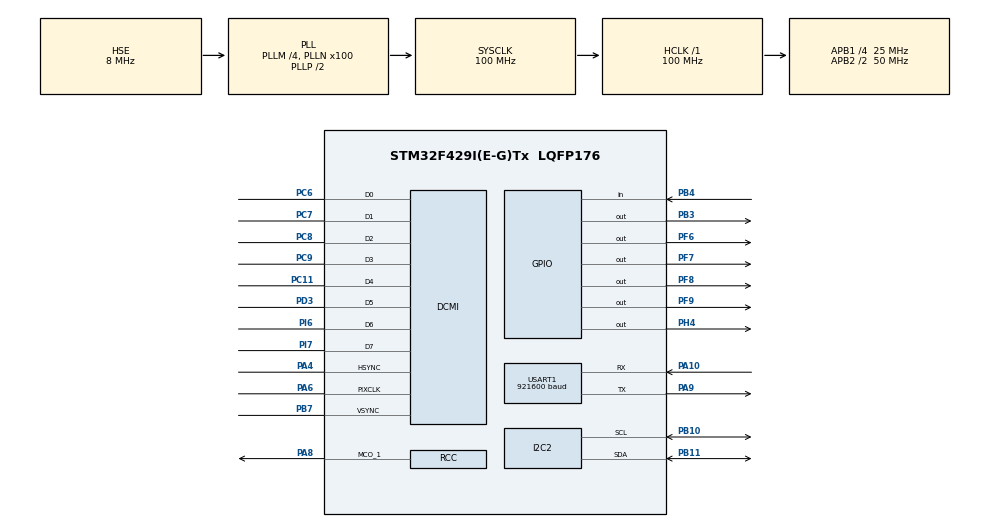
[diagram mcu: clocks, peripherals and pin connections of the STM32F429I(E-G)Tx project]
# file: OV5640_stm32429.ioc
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DCMI.JPEGMode=DCMI_JPEG_ENABLE
DCMI.PCKPolarity=DCMI_PCKPOLARITY_RISING
Dma.DCMI.0.Direction=DMA_PERIPH_TO_MEMORY
Dma.DCMI.0.FIFOMode=DMA_FIFOMODE_ENABLE
Dma.DCMI.0.FIFOThreshold=DMA_FIFO_THRESHOLD_FULL
Dma.DCMI.0.Instance=DMA2_Stream1
Dma.DCMI.0.MemBurst=DMA_MBURST_SINGLE
Dma.DCMI.0.MemDataAlignment=DMA_MDATAALIGN_WORD
Dma.DCMI.0.MemInc=DMA_MINC_ENABLE
Dma.DCMI.0.Mode=DMA_CIRCULAR
Dma.DCMI.0.PeriphBurst=DMA_PBURST_SINGLE
Dma.DCMI.0.PeriphDataAlignment=DMA_PDATAALIGN_WORD
Dma.DCMI.0.PeriphInc=DMA_PINC_DISABLE
Dma.DCMI.0.Priority=DMA_PRIORITY_HIGH
Dma.Request0=DCMI
I2C2.I2C_Mode=I2C_Standard
Mcu.Family=STM32F4
Mcu.Name=STM32F429I(E-G)Tx
Mcu.Package=LQFP176
NVIC.DCMI_IRQn=true\:0\:0\:true\:false\:true\:true\:true\:true
NVIC.DMA2_Stream1_IRQn=true\:3\:0\:true\:false\:true\:false\:true\:true
NVIC.PriorityGroup=NVIC_PRIORITYGROUP_4
PA10.Mode=Asynchronous
PA10.Signal=USART1_RX
PA13.Mode=Serial_Wire
PA13.Signal=SYS_JTMS-SWDIO
PA14.Mode=Serial_Wire
PA14.Signal=SYS_JTCK-SWCLK
PA4.Mode=Slave_8_bits_External_Synchro
PA4.Signal=DCMI_HSYNC
PA6.Mode=Slave_8_bits_External_Synchro
PA6.Signal=DCMI_PIXCLK
PA8.Mode=Clock-out-1
PA8.Signal=RCC_MCO_1
PA9.Mode=Asynchronous
PA9.Signal=USART1_TX
PB10.GPIO_Pu=GPIO_PULLUP
PB10.GPIO_Speed=GPIO_SPEED_FREQ_HIGH
PB10.Mode=I2C
PB10.Signal=I2C2_SCL
PB11.Mode=I2C
PB11.Signal=I2C2_SDA
PB3.Signal=GPIO_Output
PB4.Signal=GPIO_Input
PB6.Signal=I2C1_SCL
PB7.Mode=Slave_8_bits_External_Synchro
PB7.Signal=DCMI_VSYNC
PC11.Mode=Slave_8_bits_External_Synchro
PC11.Signal=DCMI_D4
PC14/OSC32_IN.Mode=LSE-External-Oscillator
PC14/OSC32_IN.Signal=RCC_OSC32_IN
PC15/OSC32_OUT.Mode=LSE-External-Oscillator
PC15/OSC32_OUT.Signal=RCC_OSC32_OUT
PC6.Mode=Slave_8_bits_External_Synchro
PC6.Signal=DCMI_D0
PC7.Mode=Slave_8_bits_External_Synchro
PC7.Signal=DCMI_D1
PC8.Mode=Slave_8_bits_External_Synchro
PC8.Signal=DCMI_D2
PC9.Mode=Slave_8_bits_External_Synchro
PC9.Signal=DCMI_D3
PD10.Signal=USART3_CK
PD11.Signal=USART3_CTS
PD12.Signal=USART3_RTS
PD3.Mode=Slave_8_bits_External_Synchro
PD3.Signal=DCMI_D5
PF6.Signal=GPIO_Output
PF7.Signal=GPIO_Output
PF8.Signal=GPIO_Output
PF9.Signal=GPIO_Output
PG11.Signal=LTDC_B3
PG6.Signal=LTDC_R7
PG7.Signal=LTDC_CLK
PH0/OSC_IN.Mode=HSE-External-Oscillator
PH0/OSC_IN.Signal=RCC_OSC_IN
PH1/OSC_OUT.Mode=HSE-External-Oscillator
PH1/OSC_OUT.Signal=RCC_OSC_OUT
PH12.Signal=LTDC_R6
PH13.Signal=LTDC_G2
PH14.Signal=LTDC_G3
PH15.Signal=LTDC_G4
PH4.Signal=GPIO_Output
PH9.Signal=LTDC_R3
PI0.Signal=LTDC_G5
PI1.Signal=LTDC_G6
PI4.Signal=LTDC_B4
PI5.Signal=LTDC_B5
PI6.Mode=Slave_8_bits_External_Synchro
PI6.Signal=DCMI_D6
PI7.Mode=Slave_8_bits_External_Synchro
PI7.Signal=DCMI_D7
ProjectManager.HeapSize=0x200
ProjectManager.StackSize=0x400
ProjectManager.TargetToolchain=STM32CubeIDE
RCC.48MHZClocksFreq_Value=50000000
RCC.AHBFreq_Value=100000000
RCC.APB1CLKDivider=RCC_HCLK_DIV4
RCC.APB1Freq_Value=25000000
RCC.APB1TimFreq_Value=50000000
RCC.APB2CLKDivider=RCC_HCLK_DIV2
RCC.APB2Freq_Value=50000000
RCC.APB2TimFreq_Value=100000000
RCC.CortexFreq_Value=100000000
RCC.HCLKFreq_Value=100000000
RCC.HSE_VALUE=8000000
RCC.HSI_VALUE=16000000
RCC.PLLM=4
RCC.PLLN=100
RCC.PLLSAIN=50
RCC.PLLSourceVirtual=RCC_PLLSOURCE_HSE
RCC.RCC_MCO1Source=RCC_MCO1SOURCE_PLLCLK
RCC.RCC_MCODiv1=RCC_MCODIV_5
RCC.SYSCLKFreq_VALUE=100000000
RCC.SYSCLKSource=RCC_SYSCLKSOURCE_PLLCLK
RCC.VCOOutputFreq_Value=200000000
USART1.BaudRate=921600
USART1.Mode=MODE_TX_RX
USART1.VirtualMode=VM_ASYNC
USART1.WordLength=WORDLENGTH_8B
board=custom

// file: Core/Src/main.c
/* USER CODE BEGIN Header */
/**
  ******************************************************************************
  * @file           : main.c
  * @brief          : Main program body
  ******************************************************************************
  * @attention
  *
  * Copyright (c) 2023 STMicroelectronics.
  * All rights reserved.
  *
  * This software is licensed under terms that can be found in the LICENSE file
  * in the root directory of this software component.
  * If no LICENSE file comes with this software, it is provided AS-IS.
  *
  ******************************************************************************
  */
/* USER CODE END Header */
#include "main.h"

/* USER CODE BEGIN Includes */
#include <stdio.h>
#include <string.h>
#include "ov5640.h"
/* USER CODE END Includes */

DCMI_HandleTypeDef hdcmi;
DMA_HandleTypeDef hdma_dcmi;

I2C_HandleTypeDef hi2c2;

UART_HandleTypeDef huart1;

/* USER CODE BEGIN PV */
uint16_t Camera_SlaveID=0x0078;
uint16_t registerAdres_W=0x3A01;
uint8_t registerValue_W=0x01;
uint16_t ReadReg=0x3A01;
uint8_t register_deger_w[3]={};
uint8_t register_deger_r[2]={};
uint8_t readRegisterValue=0;
uint32_t jpeg_data_buf[JPEG_BUF_SIZE_MAX];
uint8_t resolution;
uint8_t data_array[4];
uint32_t k;
//extern uint16_t jpeg_size_tbl[][2];
/* USER CODE END PV */

void SystemClock_Config(void);
static void MX_GPIO_Init(void);
static void MX_DMA_Init(void);
static void MX_DCMI_Init(void);
static void MX_I2C2_Init(void);
static void MX_USART1_UART_Init(void);

/* USER CODE BEGIN 0 */
/*void OV5640_TestSensor()
{
    status = HAL_I2C_IsDeviceReady(&hi2c2, Camera_SlaveID, 2, HAL_MAX_DELAY);
}
void write_i2c(uint16_t registerAdres_W, uint8_t registerValue_W){ //OV5640 I2C hattı veri yazma

	register_deger_w[0] = 0;
	register_deger_w[1] = 0;
	register_deger_w[2] = 0;
	register_deger_w[2] = registerValue_W;
	register_deger_w[1] = (uint8_t)(registerAdres_W & 0x00FF);
	register_deger_w[0] = (uint8_t)((registerAdres_W >> 8) & 0xFF);

	HAL_I2C_Master_Transmit(&hi2c2, Camera_SlaveID, register_deger_w, 3, HAL_MAX_DELAY);
}
void Write_I2C(uint16_t WAdres,uint8_t Wdata)
{
	Write_Buffer[0] = (uint8_t)((WAdres>>8)&(0xFF));
	Write_Buffer[1] = (uint8_t)((WAdres)&(0x00FF));
	Write_Buffer[2]=  Wdata;
    status3 = HAL_I2C_Master_Transmit(&hi2c2, Camera_SlaveID, Write_Buffer, 3, HAL_MAX_DELAY);
}

uint8_t read_i2c(uint16_t registerAdres_R){ //OV5640 I2C hattı veri okuma

	register_deger_r[0] = 0;
	register_deger_r[1] = 0;

	register_deger_r[1] = (uint8_t)(registerAdres_R & 0x00FF);
	register_deger_r[0] = (uint8_t)((registerAdres_R >> 8) & 0xFF);

	HAL_I2C_Master_Transmit(&hi2c2, Camera_SlaveID, register_deger_r, 2, HAL_MAX_DELAY);
	HAL_I2C_Master_Receive(&hi2c2, Camera_SlaveID, &readRegisterValue, 1, HAL_MAX_DELAY);

	return readRegisterValue;
}
uint8_t Read_I2C(uint16_t RAdres)
{
	ReadRegisterBuffer[0]=0;
	ReadRegisterBuffer[1]=0;
	ReadRegisterBuffer[0]= (uint8_t)((RAdres>>8)&(0xFF));
	ReadRegisterBuffer[1]= (uint8_t)((RAdres)&(0x00FF));
    status1 = HAL_I2C_Master_Transmit(&hi2c2, Camera_SlaveID, ReadRegisterBuffer, 2, HAL_MAX_DELAY);
    status2 = HAL_I2C_Master_Receive(&hi2c2, Camera_SlaveID, &Read_Buffer, 1, HAL_MAX_DELAY);
    return Read_Buffer;
}*/
void send_data_uart(uint8_t *data, uint8_t size)
{
    HAL_UART_Transmit(&huart1, data, size, HAL_MAX_DELAY);
}
/* USER CODE END 0 */

int main(void)
{

  /* MCU Configuration--------------------------------------------------------*/

  /* Reset of all peripherals, Initializes the Flash interface and the Systick. */
  HAL_Init();

  /* Configure the system clock */
  SystemClock_Config();

  /* Initialize all configured peripherals */
  MX_GPIO_Init();
  MX_DMA_Init();
  MX_DCMI_Init();
  MX_I2C2_Init();
  MX_USART1_UART_Init();
  /* USER CODE BEGIN 2 */
 // resolution=QVGA_320_240;
 // OV5640_OutSize_Set(4, 0, jpeg_size_tbl[resolution][0], jpeg_size_tbl[resolution][1]);
  OV5640_Init();
  OV5640_CameraAyarları();
  jpeg_test(QQVGA_160_120);

  /* USER CODE END 2 */

  /* Infinite loop */
  while (1)
  {

    /* USER CODE BEGIN 3 */
	  	  	  	  	/*  write_i2c(registerAdres_W,registerValue_W);
	  	  	  	  	 /// write_i2c(0x3a01,0x01);
	    	    	  HAL_Delay(2000);
	    	    	readRegisterValue	 = read_i2c(ReadReg);
	    	    	//  readRegisterValue	 = read_i2c(0x3a01);
	    	    	  );*/
	 /* readRegisterValue=read_i2c(0x3035);
	  HAL_Delay(1000);
	  readRegisterValue=read_i2c(0x3036);
	  HAL_Delay(1000);
	  readRegisterValue=read_i2c(0x380a);
	  HAL_Delay(1000);
	  readRegisterValue=read_i2c(0x380b);
	  HAL_Delay(1000);
	  HAL_UART_Transmit(&huart1, (uint32_t *)jpeg_data_buf, sizeof(jpeg_data_buf), HAL_MAX_DELAY);*/
for(k=0;k<JPEG_BUF_SIZE_MAX;k++)
{
	            data_array[3] = (uint8_t)(jpeg_data_buf[k] >> 24) ;
		        data_array[2] = (uint8_t)(jpeg_data_buf[k] >> 16) ;
		        data_array[1] = (uint8_t)(jpeg_data_buf[k] >> 8) ;
		        data_array[0] = (uint8_t)jpeg_data_buf[k] ;
		        send_data_uart(data_array, 4);
}
  }
  /* USER CODE END 3 */
}

void SystemClock_Config(void)
{
  RCC_OscInitTypeDef RCC_OscInitStruct = {0};
  RCC_ClkInitTypeDef RCC_ClkInitStruct = {0};

  /** Configure the main internal regulator output voltage
  */
  __HAL_RCC_PWR_CLK_ENABLE();
  __HAL_PWR_VOLTAGESCALING_CONFIG(PWR_REGULATOR_VOLTAGE_SCALE3);

  /** Initializes the RCC Oscillators according to the specified parameters
  * in the RCC_OscInitTypeDef structure.
  */
  RCC_OscInitStruct.OscillatorType = RCC_OSCILLATORTYPE_HSE;
  RCC_OscInitStruct.HSEState = RCC_HSE_ON;
  RCC_OscInitStruct.PLL.PLLState = RCC_PLL_ON;
  RCC_OscInitStruct.PLL.PLLSource = RCC_PLLSOURCE_HSE;
  RCC_OscInitStruct.PLL.PLLM = 4;
  RCC_OscInitStruct.PLL.PLLN = 100;
  RCC_OscInitStruct.PLL.PLLP = RCC_PLLP_DIV2;
  RCC_OscInitStruct.PLL.PLLQ = 4;
  if (HAL_RCC_OscConfig(&RCC_OscInitStruct) != HAL_OK)
  {
    Error_Handler();
  }

  /** Initializes the CPU, AHB and APB buses clocks
  */
  RCC_ClkInitStruct.ClockType = RCC_CLOCKTYPE_HCLK|RCC_CLOCKTYPE_SYSCLK
                              |RCC_CLOCKTYPE_PCLK1|RCC_CLOCKTYPE_PCLK2;
  RCC_ClkInitStruct.SYSCLKSource = RCC_SYSCLKSOURCE_PLLCLK;
  RCC_ClkInitStruct.AHBCLKDivider = RCC_SYSCLK_DIV1;
  RCC_ClkInitStruct.APB1CLKDivider = RCC_HCLK_DIV4;
  RCC_ClkInitStruct.APB2CLKDivider = RCC_HCLK_DIV2;

  if (HAL_RCC_ClockConfig(&RCC_ClkInitStruct, FLASH_LATENCY_3) != HAL_OK)
  {
    Error_Handler();
  }
  HAL_RCC_MCOConfig(RCC_MCO1, RCC_MCO1SOURCE_PLLCLK, RCC_MCODIV_5);
}

static void MX_DCMI_Init(void)
{

  hdcmi.Instance = DCMI;
  hdcmi.Init.SynchroMode = DCMI_SYNCHRO_HARDWARE;
  hdcmi.Init.PCKPolarity = DCMI_PCKPOLARITY_RISING;
  hdcmi.Init.VSPolarity = DCMI_VSPOLARITY_LOW;
  hdcmi.Init.HSPolarity = DCMI_HSPOLARITY_LOW;
  hdcmi.Init.CaptureRate = DCMI_CR_ALL_FRAME;
  hdcmi.Init.ExtendedDataMode = DCMI_EXTEND_DATA_8B;
  hdcmi.Init.JPEGMode = DCMI_JPEG_ENABLE;
  if (HAL_DCMI_Init(&hdcmi) != HAL_OK)
  {
    Error_Handler();
  }

}

static void MX_I2C2_Init(void)
{

  hi2c2.Instance = I2C2;
  hi2c2.Init.ClockSpeed = 100000;
  hi2c2.Init.DutyCycle = I2C_DUTYCYCLE_2;
  hi2c2.Init.OwnAddress1 = 0;
  hi2c2.Init.AddressingMode = I2C_ADDRESSINGMODE_7BIT;
  hi2c2.Init.DualAddressMode = I2C_DUALADDRESS_DISABLE;
  hi2c2.Init.OwnAddress2 = 0;
  hi2c2.Init.GeneralCallMode = I2C_GENERALCALL_DISABLE;
  hi2c2.Init.NoStretchMode = I2C_NOSTRETCH_DISABLE;
  if (HAL_I2C_Init(&hi2c2) != HAL_OK)
  {
    Error_Handler();
  }

  /** Configure Analogue filter
  */
  if (HAL_I2CEx_ConfigAnalogFilter(&hi2c2, I2C_ANALOGFILTER_ENABLE) != HAL_OK)
  {
    Error_Handler();
  }

  /** Configure Digital filter
  */
  if (HAL_I2CEx_ConfigDigitalFilter(&hi2c2, 0) != HAL_OK)
  {
    Error_Handler();
  }

}

static void MX_USART1_UART_Init(void)
{

  huart1.Instance = USART1;
  huart1.Init.BaudRate = 921600;
  huart1.Init.WordLength = UART_WORDLENGTH_8B;
  huart1.Init.StopBits = UART_STOPBITS_1;
  huart1.Init.Parity = UART_PARITY_NONE;
  huart1.Init.Mode = UART_MODE_TX_RX;
  huart1.Init.HwFlowCtl = UART_HWCONTROL_NONE;
  huart1.Init.OverSampling = UART_OVERSAMPLING_16;
  if (HAL_UART_Init(&huart1) != HAL_OK)
  {
    Error_Handler();
  }

}

static void MX_DMA_Init(void)
{

  /* DMA controller clock enable */
  __HAL_RCC_DMA2_CLK_ENABLE();

  /* DMA interrupt init */
  /* DMA2_Stream1_IRQn interrupt configuration */
  HAL_NVIC_SetPriority(DMA2_Stream1_IRQn, 3, 0);
  HAL_NVIC_EnableIRQ(DMA2_Stream1_IRQn);

}

static void MX_GPIO_Init(void)
{
  GPIO_InitTypeDef GPIO_InitStruct = {0};

  /* GPIO Ports Clock Enable */
  __HAL_RCC_GPIOC_CLK_ENABLE();
  __HAL_RCC_GPIOF_CLK_ENABLE();
  __HAL_RCC_GPIOH_CLK_ENABLE();
  __HAL_RCC_GPIOA_CLK_ENABLE();
  __HAL_RCC_GPIOB_CLK_ENABLE();
  __HAL_RCC_GPIOD_CLK_ENABLE();
  __HAL_RCC_GPIOG_CLK_ENABLE();
  __HAL_RCC_GPIOI_CLK_ENABLE();

  /*Configure GPIO pin Output Level */
  HAL_GPIO_WritePin(GPIOF, GPIO_PIN_6|GPIO_PIN_7|GPIO_PIN_8|GPIO_PIN_9, GPIO_PIN_RESET);

  /*Configure GPIO pin Output Level */
  HAL_GPIO_WritePin(GPIOH, GPIO_PIN_4, GPIO_PIN_RESET);

  /*Configure GPIO pin Output Level */
  HAL_GPIO_WritePin(GPIOB, GPIO_PIN_3, GPIO_PIN_RESET);

  /*Configure GPIO pins : PF6 PF7 PF8 PF9 */
  GPIO_InitStruct.Pin = GPIO_PIN_6|GPIO_PIN_7|GPIO_PIN_8|GPIO_PIN_9;
  GPIO_InitStruct.Mode = GPIO_MODE_OUTPUT_PP;
  GPIO_InitStruct.Pull = GPIO_NOPULL;
  GPIO_InitStruct.Speed = GPIO_SPEED_FREQ_LOW;
  HAL_GPIO_Init(GPIOF, &GPIO_InitStruct);

  /*Configure GPIO pin : PH4 */
  GPIO_InitStruct.Pin = GPIO_PIN_4;
  GPIO_InitStruct.Mode = GPIO_MODE_OUTPUT_PP;
  GPIO_InitStruct.Pull = GPIO_NOPULL;
  GPIO_InitStruct.Speed = GPIO_SPEED_FREQ_LOW;
  HAL_GPIO_Init(GPIOH, &GPIO_InitStruct);

  /*Configure GPIO pins : PH9 PH12 PH13 PH14
                           PH15 */
  GPIO_InitStruct.Pin = GPIO_PIN_9|GPIO_PIN_12|GPIO_PIN_13|GPIO_PIN_14
                          |GPIO_PIN_15;
  GPIO_InitStruct.Mode = GPIO_MODE_AF_PP;
  GPIO_InitStruct.Pull = GPIO_NOPULL;
  GPIO_InitStruct.Speed = GPIO_SPEED_FREQ_LOW;
  GPIO_InitStruct.Alternate = GPIO_AF14_LTDC;
  HAL_GPIO_Init(GPIOH, &GPIO_InitStruct);

  /*Configure GPIO pins : PD10 PD11 PD12 */
  GPIO_InitStruct.Pin = GPIO_PIN_10|GPIO_PIN_11|GPIO_PIN_12;
  GPIO_InitStruct.Mode = GPIO_MODE_AF_PP;
  GPIO_InitStruct.Pull = GPIO_NOPULL;
  GPIO_InitStruct.Speed = GPIO_SPEED_FREQ_VERY_HIGH;
  GPIO_InitStruct.Alternate = GPIO_AF7_USART3;
  HAL_GPIO_Init(GPIOD, &GPIO_InitStruct);

  /*Configure GPIO pins : PG6 PG7 PG11 */
  GPIO_InitStruct.Pin = GPIO_PIN_6|GPIO_PIN_7|GPIO_PIN_11;
  GPIO_InitStruct.Mode = GPIO_MODE_AF_PP;
  GPIO_InitStruct.Pull = GPIO_NOPULL;
  GPIO_InitStruct.Speed = GPIO_SPEED_FREQ_LOW;
  GPIO_InitStruct.Alternate = GPIO_AF14_LTDC;
  HAL_GPIO_Init(GPIOG, &GPIO_InitStruct);

  /*Configure GPIO pin : PA8 */
  GPIO_InitStruct.Pin = GPIO_PIN_8;
  GPIO_InitStruct.Mode = GPIO_MODE_AF_PP;
  GPIO_InitStruct.Pull = GPIO_NOPULL;
  GPIO_InitStruct.Speed = GPIO_SPEED_FREQ_LOW;
  GPIO_InitStruct.Alternate = GPIO_AF0_MCO;
  HAL_GPIO_Init(GPIOA, &GPIO_InitStruct);

  /*Configure GPIO pins : PI0 PI1 PI4 PI5 */
  GPIO_InitStruct.Pin = GPIO_PIN_0|GPIO_PIN_1|GPIO_PIN_4|GPIO_PIN_5;
  GPIO_InitStruct.Mode = GPIO_MODE_AF_PP;
  GPIO_InitStruct.Pull = GPIO_NOPULL;
  GPIO_InitStruct.Speed = GPIO_SPEED_FREQ_LOW;
  GPIO_InitStruct.Alternate = GPIO_AF14_LTDC;
  HAL_GPIO_Init(GPIOI, &GPIO_InitStruct);

  /*Configure GPIO pin : PB3 */
  GPIO_InitStruct.Pin = GPIO_PIN_3;
  GPIO_InitStruct.Mode = GPIO_MODE_OUTPUT_PP;
  GPIO_InitStruct.Pull = GPIO_NOPULL;
  GPIO_InitStruct.Speed = GPIO_SPEED_FREQ_LOW;
  HAL_GPIO_Init(GPIOB, &GPIO_InitStruct);

  /*Configure GPIO pin : PB4 */
  GPIO_InitStruct.Pin = GPIO_PIN_4;
  GPIO_InitStruct.Mode = GPIO_MODE_INPUT;
  GPIO_InitStruct.Pull = GPIO_NOPULL;
  HAL_GPIO_Init(GPIOB, &GPIO_InitStruct);

  /*Configure GPIO pin : PB6 */
  GPIO_InitStruct.Pin = GPIO_PIN_6;
  GPIO_InitStruct.Mode = GPIO_MODE_AF_OD;
  GPIO_InitStruct.Pull = GPIO_NOPULL;
  GPIO_InitStruct.Speed = GPIO_SPEED_FREQ_VERY_HIGH;
  GPIO_InitStruct.Alternate = GPIO_AF4_I2C1;
  HAL_GPIO_Init(GPIOB, &GPIO_InitStruct);

}

void Error_Handler(void)
{
  __disable_irq();
  while (1)
  {
  }
}
